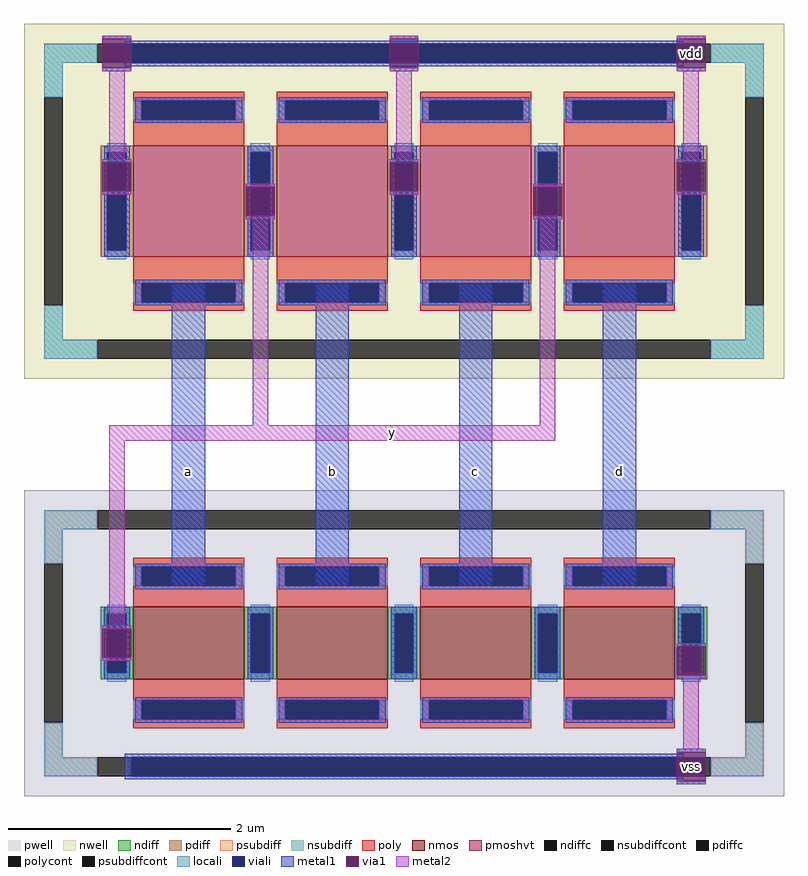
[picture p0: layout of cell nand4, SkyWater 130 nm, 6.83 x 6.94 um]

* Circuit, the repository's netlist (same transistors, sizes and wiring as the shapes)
* SPDX-License-Identifier: Apache-2.0
* Copyright 2026 Mauro Rodriguez Blasco
*
* The encoder's four-input NAND, drawn like a standard cell: PMOS vdd | y | vdd | y | vdd, NMOS
* in series y | m1 | m2 | m3 | vss, input a next to y. Reference for LVS (scripts/flow.py lvs nand4).
.subckt nand4 a b c d y vdd vss
XP1 y a vdd vdd sky130_fd_pr__pfet_01v8_hvt w=1 l=1
XP2 y b vdd vdd sky130_fd_pr__pfet_01v8_hvt w=1 l=1
XP3 y c vdd vdd sky130_fd_pr__pfet_01v8_hvt w=1 l=1
XP4 y d vdd vdd sky130_fd_pr__pfet_01v8_hvt w=1 l=1
XN1 y a m1 vss sky130_fd_pr__nfet_01v8 w=0.65 l=1
XN2 m1 b m2 vss sky130_fd_pr__nfet_01v8 w=0.65 l=1
XN3 m2 c m3 vss sky130_fd_pr__nfet_01v8 w=0.65 l=1
XN4 m3 d vss vss sky130_fd_pr__nfet_01v8 w=0.65 l=1
.ends nand4

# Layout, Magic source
magic
tech sky130A
magscale 1 2
<< metal1 >>
rect 88 1308 140 1314
rect 88 1250 140 1256
rect 604 1308 656 1314
rect 604 1250 656 1256
rect 1120 1308 1172 1314
rect 1120 1250 1172 1256
rect 88 1086 140 1092
rect 604 1086 656 1092
rect 88 1028 140 1034
rect 346 1042 398 1048
rect 1120 1086 1172 1092
rect 604 1028 656 1034
rect 862 1042 914 1048
rect 346 984 398 990
rect 1120 1028 1172 1034
rect 862 984 914 990
rect 213 325 273 869
rect 471 325 531 869
rect 729 325 789 869
rect 987 325 1047 869
rect 88 248 140 254
rect 88 190 140 196
rect 1120 216 1172 222
rect 1120 158 1172 164
rect 1120 26 1172 32
rect 1120 -32 1172 -26
<< via1 >>
rect 88 1256 140 1308
rect 604 1256 656 1308
rect 1120 1256 1172 1308
rect 88 1034 140 1086
rect 346 990 398 1042
rect 604 1034 656 1086
rect 862 990 914 1042
rect 1120 1034 1172 1086
rect 88 196 140 248
rect 1120 164 1172 216
rect 1120 -26 1172 26
<< metal2 >>
rect 88 1308 140 1314
rect 88 1250 140 1256
rect 604 1308 656 1314
rect 604 1250 656 1256
rect 1120 1308 1172 1314
rect 1120 1250 1172 1256
rect 100 1092 128 1250
rect 616 1092 644 1250
rect 1132 1092 1160 1250
rect 88 1086 140 1092
rect 604 1086 656 1092
rect 88 1028 140 1034
rect 346 1042 398 1048
rect 1120 1086 1172 1092
rect 604 1028 656 1034
rect 862 1042 914 1048
rect 346 984 398 990
rect 1120 1028 1172 1034
rect 862 984 914 990
rect 358 614 386 984
rect 874 614 902 984
rect 100 586 902 614
rect 100 254 128 586
rect 88 248 140 254
rect 88 190 140 196
rect 1120 216 1172 222
rect 1120 158 1172 164
rect 1132 32 1160 158
rect 1120 26 1172 32
rect 1120 -32 1172 -26
use sky130_fd_pr__nfet_01v8_ZLFAQ8  XN
transform 1 0 630 0 1 222
box -683 -275 683 275
use sky130_fd_pr__pfet_01v8_hvt_CRFMCB  XP
transform 1 0 630 0 1 1016
box -683 -319 683 319
<< labels >>
flabel metal1 234 520 252 540 0 FreeSans 3 0 0 0 a
port 8 nsew
flabel metal1 492 520 510 540 0 FreeSans 3 0 0 0 b
port 9 nsew
flabel metal1 750 520 768 540 0 FreeSans 3 0 0 0 c
port 10 nsew
flabel metal1 1008 520 1026 540 0 FreeSans 3 0 0 0 d
port 11 nsew
flabel metal2 600 592 620 608 0 FreeSans 3 0 0 0 y
port 12 nsew
flabel via1 1138 1274 1154 1290 0 FreeSans 3 0 0 0 vdd
port 13 nsew
flabel via1 1138 -8 1154 8 0 FreeSans 3 0 0 0 vss
port 14 nsew
<< end >>

# cell sky130_fd_pr__nfet_01v8_ZLFAQ8: kit device sky130_fd_pr__nfet_01v8, w 0.65 l 1 m 1 nf 4 diffcov 100 polycov 100 guard 1 glc 1 grc 1 gtc 1 gbc 1 tbcov 100 rlcov 100 topc 1 botc 1 poverlap 0 doverlap 1 lmin 0.15 wmin 0.42 class mosfet compatible {sky130_fd_pr__nfet_01v8 sky130_fd_pr__nfet_01v8_lvt sky130_fd_bs_flash__special_sonosfet_star sky130_fd_pr__nfet_g5v0d10v5 sky130_fd_pr__nfet_05v0_nvt sky130_fd_pr__nfet_03v3_nvt} full_metal 1 conn_gates 0 viasrc 100 viadrn 100 viagate 100 viagb 80 viagr 0 viagl 0 viagt 0 doports 1

# cell sky130_fd_pr__pfet_01v8_hvt_CRFMCB: kit device sky130_fd_pr__pfet_01v8_hvt, w 1 l 1 m 1 nf 4 diffcov 100 polycov 100 guard 1 glc 1 grc 1 gtc 1 gbc 1 tbcov 100 rlcov 100 topc 1 botc 1 poverlap 0 doverlap 1 lmin 0.15 wmin 0.42 class mosfet compatible {sky130_fd_pr__pfet_01v8 sky130_fd_pr__pfet_01v8_lvt sky130_fd_pr__pfet_01v8_hvt sky130_fd_pr__pfet_g5v0d10v5} full_metal 1 conn_gates 0 viasrc 100 viadrn 100 viagate 100 viagb 0 viagr 0 viagl 0 viagt 80 doports 1
